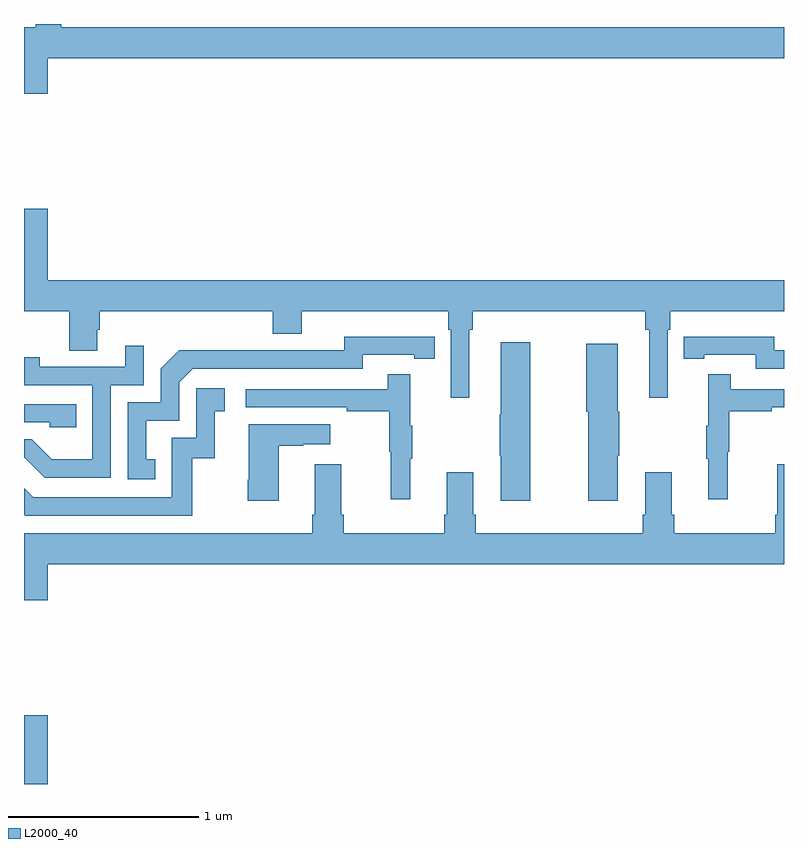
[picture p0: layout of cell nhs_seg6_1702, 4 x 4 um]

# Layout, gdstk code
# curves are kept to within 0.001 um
import gdstk
lib = gdstk.Library(unit=1e-6, precision=1e-09)
def R(c, l, rs):  # rectangles x0, y0, x1, y1
    for r in rs: c.add(gdstk.rectangle(r[:2], r[2:], *l))
def P(c, l, *ps):  # polygons
    for p in ps: c.add(gdstk.Polygon(p, *l))
L2000_40 = (2000, 40)

nhs_seg6_1702 = lib.new_cell('nhs_seg6_1702')
R(nhs_seg6_1702, L2000_40, [(213,959.5,213.124,959.863)])
P(nhs_seg6_1702, L2000_40, [(213.124,963.32),(217,963.32),(217,963.484),(213.197,963.484),(213.197,963.5),(213.061,963.5),(213.061,963.484),(213,963.484),(213,963.132),(213.124,963.132)],
  [(213.124,962.527),(213,962.527),(213,961.988),(213.238,961.988),(213.238,961.78),(213.385,961.78),(213.385,961.89),(213.398,961.89),(213.398,961.988),(214.31,961.988),(214.31,961.871),(214.462,961.871),(214.462,961.988),(215.234,961.988),(215.234,961.892),(215.247,961.892),(215.247,961.533),(215.344,961.533),(215.344,961.892),(215.363,961.892),(215.363,961.988),(216.271,961.988),(216.271,961.892),(216.29,961.892),(216.29,961.533),(216.387,961.533),(216.387,961.892),(216.401,961.892),(216.401,961.988),(217,961.988),(217,962.152),(213.124,962.152)],
  [(213.692,961.209),(213.643,961.209),(213.643,961.413),(213.816,961.413),(213.816,961.614),(213.888,961.686),(214.782,961.686),(214.782,961.758),(215.054,961.758),(215.054,961.738),(215.162,961.738),(215.162,961.854),(214.686,961.855),(214.686,961.782),(214.226,961.782),(214.226,961.784),(213.818,961.784),(213.72,961.686),(213.72,961.509),(213.546,961.509),(213.546,961.104),(213.692,961.104)],
  [(217,961.782),(216.948,961.782),(216.948,961.855),(216.58,961.855),(216.58,961.854),(216.472,961.854),(216.472,961.738),(216.58,961.738),(216.58,961.758),(216.852,961.758),(216.852,961.686),(217,961.686)],
  [(215.664,961.825),(215.51,961.825),(215.51,961.445),(215.503,961.445),(215.503,961.228),(215.51,961.228),(215.51,960.99),(215.664,960.99)],
  [(216.124,961.228),(216.132,961.228),(216.132,961.458),(216.124,961.458),(216.124,961.816),(215.96,961.816),(215.96,961.458),(215.971,961.458),(215.971,960.99),(216.124,960.99)],
  [(213.456,961.599),(213.63,961.599),(213.63,961.807),(213.533,961.807),(213.533,961.695),(213.082,961.695),(213.082,961.747),(213,961.747),(213,961.599),(213.36,961.599),(213.36,961.21),(213.146,961.21),(213.042,961.314),(213,961.314),(213,961.218),(213.005,961.218),(213.11,961.113),(213.456,961.113)],
  [(216.704,961.248),(216.712,961.248),(216.712,961.462),(216.935,961.462),(216.935,961.482),(217,961.482),(217,961.578),(216.719,961.578),(216.719,961.657),(216.602,961.657),(216.602,961.385),(216.591,961.385),(216.591,961.211),(216.602,961.211),(216.602,960.999),(216.704,960.999)],
  [(215.033,961.211),(215.044,961.211),(215.044,961.385),(215.033,961.385),(215.033,961.657),(214.915,961.657),(214.915,961.578),(214.167,961.578),(214.167,961.482),(214.699,961.482),(214.699,961.462),(214.923,961.462),(214.923,961.248),(214.93,961.248),(214.93,960.999),(215.033,960.999)],
  [(213.886,961.215),(214.004,961.215),(214.004,961.461),(214.057,961.461),(214.057,961.582),(213.906,961.582),(213.906,961.323),(213.777,961.323),(213.777,961.008),(213.048,961.008),(213,961.056),(213,960.918),(213.006,960.912),(213.886,960.912)],
  [(213.275,961.5),(213,961.5),(213,961.404),(213.135,961.404),(213.135,961.377),(213.275,961.377)],
  [(214.342,961.279),(214.469,961.279),(214.469,961.289),(214.612,961.289),(214.612,961.393),(214.184,961.393),(214.184,961.102),(214.177,961.102),(214.177,960.99),(214.342,960.99)],
  [(213.124,960.656),(217,960.656),(217,961.183),(216.965,961.183),(216.965,960.916),(216.953,960.916),(216.953,960.82),(216.422,960.82),(216.422,960.916),(216.409,960.916),(216.409,961.141),(216.269,961.141),(216.269,960.916),(216.257,960.916),(216.257,960.82),(215.378,960.82),(215.378,960.916),(215.365,960.916),(215.365,961.141),(215.225,961.141),(215.225,960.916),(215.213,960.916),(215.213,960.82),(214.682,960.82),(214.682,960.916),(214.669,960.916),(214.669,961.183),(214.529,961.183),(214.529,960.916),(214.517,960.916),(214.517,960.82),(213,960.82),(213,960.468),(213.124,960.468)])

lib.write_gds('nhs_seg6_1702.gds')
